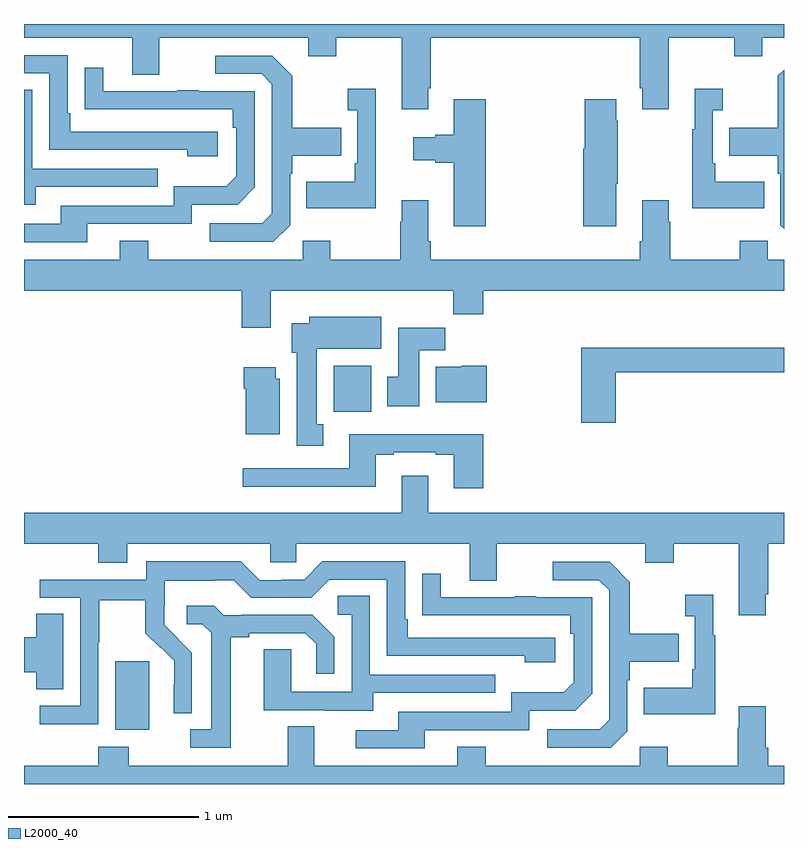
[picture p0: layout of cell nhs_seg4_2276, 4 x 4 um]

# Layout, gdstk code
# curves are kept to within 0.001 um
import gdstk
lib = gdstk.Library(unit=1e-6, precision=1e-09)
def R(c, l, rs):  # rectangles x0, y0, x1, y1
    for r in rs: c.add(gdstk.rectangle(r[:2], r[2:], *l))
def P(c, l, *ps):  # polygons
    for p in ps: c.add(gdstk.Polygon(p, *l))
L2000_40 = (2000, 40)

nhs_seg4_2276 = lib.new_cell('nhs_seg4_2276')
R(nhs_seg4_2276, L2000_40, [(229.481,785.186,229.66,785.547), (230.63,786.86,230.827,787.102)])
P(nhs_seg4_2276, L2000_40, [(231.127,788.563),(231.14,788.563),(231.14,788.828),(232.241,788.828),(232.241,788.563),(232.253,788.563),(232.253,788.451),(232.393,788.451),(232.393,788.828),(232.738,788.828),(232.738,788.729),(232.885,788.729),(232.885,788.828),(233,788.828),(233,788.9),(229,788.9),(229,788.828),(229.571,788.828),(229.571,788.634),(229.711,788.634),(229.711,788.828),(230.495,788.828),(230.495,788.729),(230.643,788.729),(230.643,788.828),(230.987,788.828),(230.987,788.451),(231.127,788.451)],
  [(230.02,788.334),(229.243,788.334),(229.243,788.431),(229.23,788.431),(229.23,788.736),(229,788.736),(229,788.64),(229.134,788.64),(229.134,788.238),(229.859,788.238),(229.859,788.204),(230.02,788.204)],
  [(230.4,787.842),(230.4,788.111),(230.413,788.111),(230.413,788.207),(230.669,788.207),(230.669,788.355),(230.413,788.355),(230.413,788.627),(230.307,788.733),(230.007,788.733),(230.007,788.637),(230.25,788.637),(230.304,788.583),(230.304,787.902),(230.253,787.851),(229.977,787.851),(229.977,787.755),(230.313,787.755)],
  [(229.333,787.848),(229.884,787.848),(229.884,787.95),(230.124,787.95),(230.214,788.04),(230.214,788.547),(229.919,788.547),(229.919,788.552),(229.807,788.552),(229.807,788.547),(229.417,788.547),(229.417,788.671),(229.321,788.671),(229.321,788.452),(230.098,788.451),(230.098,788.354),(230.118,788.354),(230.118,788.1),(230.065,788.047),(229.788,788.047),(229.788,787.944),(229.193,787.944),(229.193,787.848),(229,787.848),(229,787.752),(229.333,787.752)],
  [(233,788.659),(232.968,788.627),(232.968,788.355),(232.711,788.355),(232.711,788.207),(232.968,788.207),(232.968,788.111),(232.98,788.111),(232.98,787.842),(233,787.822)],
  [(230.852,788.56),(230.703,788.56),(230.703,788.447),(230.754,788.447),(230.754,788.167),(230.742,788.167),(230.742,788.071),(230.485,788.071),(230.485,787.931),(230.852,787.931)],
  [(232.895,788.071),(232.639,788.071),(232.639,788.167),(232.626,788.167),(232.626,788.447),(232.678,788.447),(232.678,788.56),(232.529,788.56),(232.529,788.347),(232.518,788.347),(232.518,787.931),(232.895,787.931)],
  [(229.063,788.043),(229.703,788.043),(229.703,788.139),(229.044,788.139),(229.044,788.555),(229,788.555),(229,787.949),(229.063,787.949)],
  [(232.117,788.059),(232.125,788.059),(232.125,788.39),(232.117,788.39),(232.117,788.503),(231.95,788.503),(231.95,788.244),(231.944,788.244),(231.944,787.836),(232.117,787.836)],
  [(231.431,788.503),(231.263,788.503),(231.263,788.318),(231.164,788.318),(231.164,788.305),(231.048,788.305),(231.048,788.183),(231.164,788.183),(231.164,788.171),(231.263,788.171),(231.263,787.836),(231.431,787.836)],
  [(230.299,787.496),(231.259,787.496),(231.259,787.372),(231.416,787.372),(231.416,787.496),(233,787.496),(233,787.66),(232.914,787.66),(232.914,787.759),(232.768,787.759),(232.768,787.66),(232.401,787.66),(232.401,787.859),(232.393,787.859),(232.393,787.972),(232.253,787.972),(232.253,787.756),(232.241,787.756),(232.241,787.66),(231.14,787.66),(231.14,787.756),(231.127,787.756),(231.127,787.972),(230.987,787.972),(230.987,787.859),(230.98,787.859),(230.98,787.66),(230.613,787.66),(230.613,787.759),(230.466,787.759),(230.466,787.66),(229.653,787.66),(229.653,787.759),(229.505,787.759),(229.505,787.66),(229,787.66),(229,787.496),(230.147,787.496),(230.147,787.302),(230.299,787.302)],
  [(230.575,786.794),(230.542,786.794),(230.542,787.19),(230.881,787.19),(230.881,787.36),(230.501,787.36),(230.501,787.324),(230.408,787.324),(230.408,787.17),(230.435,787.17),(230.435,786.681),(230.575,786.681)],
  [(231.079,787.184),(231.218,787.184),(231.218,787.302),(230.969,787.302),(230.969,787.044),(230.912,787.044),(230.912,786.888),(231.079,786.888)],
  [(232.115,787.066),(233,787.066),(233,787.195),(231.932,787.195),(231.932,786.801),(232.115,786.801)],
  [(231.436,787.102),(231.3,787.102),(231.3,787.096),(231.167,787.096),(231.167,786.908),(231.436,786.908)],
  [(230.347,787.032),(230.326,787.032),(230.326,787.093),(230.156,787.093),(230.156,786.98),(230.168,786.98),(230.168,786.74),(230.347,786.74)],
  [(231.416,786.742),(230.711,786.742),(230.711,786.561),(230.151,786.561),(230.151,786.464),(230.851,786.464),(230.851,786.633),(230.947,786.633),(230.947,786.645),(231.167,786.645),(231.167,786.633),(231.263,786.633),(231.263,786.456),(231.416,786.456)],
  [(232.903,785.899),(232.916,785.899),(232.916,786.164),(233,786.164),(233,786.328),(231.127,786.328),(231.127,786.523),(230.987,786.523),(230.987,786.328),(229,786.328),(229,786.164),(229.391,786.164),(229.391,786.065),(229.543,786.065),(229.543,786.164),(230.295,786.164),(230.295,786.066),(230.433,786.066),(230.433,786.164),(231.347,786.164),(231.347,785.97),(231.487,785.97),(231.487,786.164),(232.271,786.164),(232.271,786.065),(232.419,786.065),(232.419,786.164),(232.763,786.164),(232.763,785.787),(232.903,785.787)],
  [(229.392,785.644),(229.395,785.644),(229.395,785.868),(229.639,785.868),(229.639,785.693),(229.716,785.616),(229.719,785.619),(229.79,785.549),(229.79,785.426),(229.788,785.426),(229.788,785.272),(229.884,785.272),(229.884,785.59),(229.738,785.738),(229.738,785.835),(229.74,785.835),(229.74,785.969),(230.003,785.969),(230.003,785.973),(230.103,785.973),(230.196,785.88),(230.511,785.88),(230.607,785.976),(230.91,785.976),(230.91,785.574),(231.635,785.574),(231.635,785.54),(231.796,785.54),(231.796,785.67),(231.019,785.67),(231.019,785.767),(231.006,785.767),(231.006,786.072),(230.571,786.072),(230.475,785.976),(230.357,785.976),(230.357,785.973),(230.241,785.973),(230.141,786.073),(229.644,786.073),(229.644,785.976),(229.083,785.976),(229.083,785.88),(229.296,785.88),(229.296,785.313),(229.083,785.313),(229.083,785.215),(229.392,785.215)],
  [(232.176,785.178),(232.176,785.447),(232.189,785.447),(232.189,785.543),(232.445,785.543),(232.445,785.691),(232.189,785.691),(232.189,785.963),(232.083,786.069),(231.783,786.069),(231.783,785.973),(232.026,785.973),(232.08,785.919),(232.08,785.238),(232.029,785.187),(231.753,785.187),(231.753,785.091),(232.089,785.091)],
  [(231.109,785.184),(231.66,785.184),(231.66,785.286),(231.9,785.286),(231.99,785.376),(231.99,785.883),(231.695,785.883),(231.695,785.888),(231.583,785.888),(231.583,785.883),(231.193,785.883),(231.193,786.007),(231.097,786.007),(231.097,785.788),(231.874,785.787),(231.874,785.69),(231.894,785.69),(231.894,785.436),(231.841,785.383),(231.564,785.383),(231.564,785.28),(230.969,785.28),(230.969,785.184),(230.745,785.184),(230.745,785.088),(231.109,785.088)],
  [(232.639,785.683),(232.627,785.683),(232.627,785.896),(232.479,785.896),(232.479,785.783),(232.53,785.783),(232.53,785.503),(232.518,785.503),(232.518,785.407),(232.261,785.407),(232.261,785.267),(232.639,785.267)],
  [(230.839,785.379),(231.479,785.379),(231.479,785.475),(230.82,785.475),(230.82,785.891),(230.652,785.891),(230.652,785.79),(230.724,785.79),(230.724,785.385),(230.406,785.385),(230.406,785.609),(230.261,785.609),(230.261,785.289),(230.585,785.289),(230.585,785.285),(230.839,785.285)],
  [(230.089,785.672),(230.185,785.672),(230.185,785.694),(230.48,785.694),(230.537,785.637),(230.537,785.481),(230.634,785.481),(230.634,785.674),(230.518,785.79),(230.146,785.79),(230.146,785.787),(230.052,785.787),(230,785.839),(229.857,785.839),(229.857,785.742),(229.938,785.742),(229.985,785.695),(229.985,785.187),(229.875,785.187),(229.875,785.091),(230.089,785.091)],
  [(229.207,785.795),(229.064,785.795),(229.064,785.672),(229,785.672),(229,785.489),(229.064,785.489),(229.064,785.398),(229.207,785.398)],
  [(233,784.996),(232.916,784.996),(232.916,785.092),(232.903,785.092),(232.903,785.308),(232.763,785.308),(232.763,785.195),(232.756,785.195),(232.756,784.996),(232.389,784.996),(232.389,785.095),(232.242,785.095),(232.242,784.996),(231.429,784.996),(231.429,785.095),(231.281,785.095),(231.281,784.996),(230.527,784.996),(230.527,785.204),(230.387,785.204),(230.387,784.996),(229.551,784.996),(229.551,785.095),(229.391,785.095),(229.391,784.996),(229,784.996),(229,784.9),(233,784.9)])

lib.write_gds('nhs_seg4_2276.gds')
